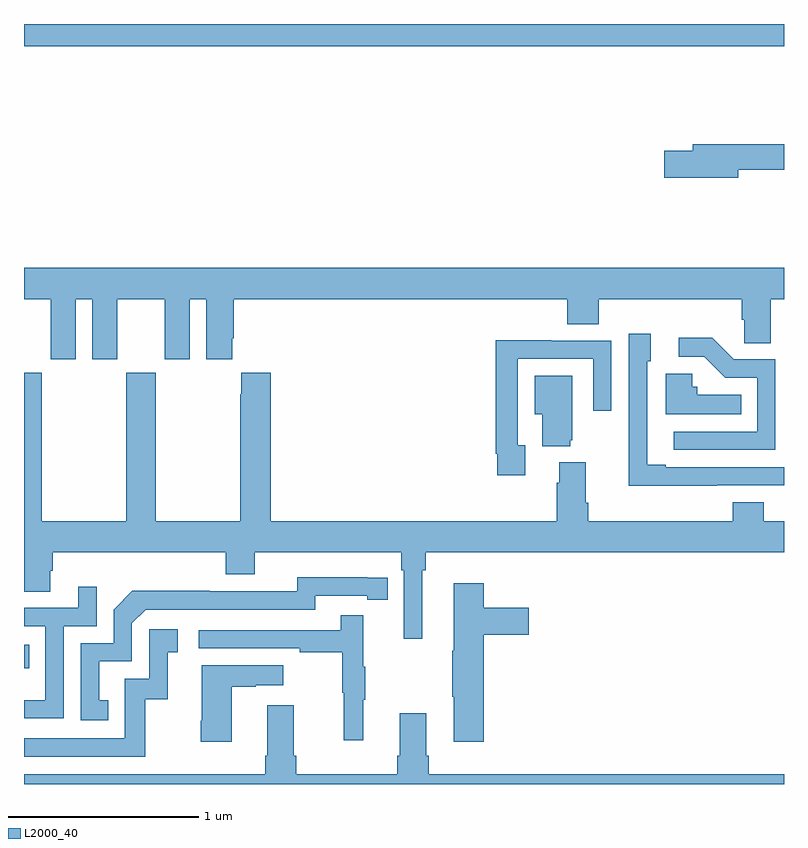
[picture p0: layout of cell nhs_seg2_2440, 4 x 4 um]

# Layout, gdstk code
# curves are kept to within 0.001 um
import gdstk
lib = gdstk.Library(unit=1e-6, precision=1e-09)
def R(c, l, rs):  # rectangles x0, y0, x1, y1
    for r in rs: c.add(gdstk.rectangle(r[:2], r[2:], *l))
def P(c, l, *ps):  # polygons
    for p in ps: c.add(gdstk.Polygon(p, *l))
L2000_40 = (2000, 40)

nhs_seg2_2440 = lib.new_cell('nhs_seg2_2440')
R(nhs_seg2_2440, L2000_40, [(239,596.409,239.027,596.532), (239,599.684,243,599.8)])
P(nhs_seg2_2440, L2000_40, [(242.758,599.032),(243,599.032),(243,599.168),(242.519,599.168),(242.519,599.132),(242.37,599.132),(242.37,598.99),(242.758,598.99)],
  [(239.272,598.352),(239.36,598.352),(239.36,598.035),(239.491,598.035),(239.491,598.352),(239.741,598.352),(239.741,598.035),(239.872,598.035),(239.872,598.352),(239.96,598.352),(239.96,598.035),(240.097,598.035),(240.097,598.147),(240.104,598.147),(240.104,598.352),(241.859,598.352),(241.859,598.219),(242.024,598.219),(242.024,598.352),(242.777,598.352),(242.777,598.243),(242.79,598.243),(242.79,598.12),(242.929,598.12),(242.929,598.352),(243,598.352),(243,598.516),(239,598.516),(239,598.352),(239.141,598.352),(239.141,598.035),(239.272,598.035)],
  [(242.645,597.372),(243,597.372),(243,597.468),(242.377,597.468),(242.377,597.481),(242.281,597.481),(242.281,597.677),(242.28,597.677),(242.28,598.026),(242.299,598.026),(242.299,598.171),(242.184,598.171),(242.184,597.677),(242.182,597.677),(242.182,597.371),(242.645,597.371)],
  [(242.955,598.035),(242.736,598.035),(242.623,598.148),(242.445,598.148),(242.445,598.05),(242.579,598.05),(242.69,597.939),(242.859,597.939),(242.859,597.654),(242.421,597.654),(242.421,597.558),(242.955,597.558)],
  [(241.639,597.582),(241.599,597.582),(241.599,598.038),(241.995,598.038),(241.995,597.765),(242.091,597.765),(242.091,598.134),(241.775,598.134),(241.775,598.136),(241.483,598.136),(241.483,597.538),(241.491,597.538),(241.491,597.426),(241.639,597.426)],
  [(241.096,596.924),(241.115,596.924),(241.115,597.02),(243,597.02),(243,597.184),(242.894,597.184),(242.894,597.283),(242.729,597.283),(242.729,597.184),(241.97,597.184),(241.97,597.28),(241.957,597.28),(241.957,597.493),(241.817,597.493),(241.817,597.386),(241.805,597.386),(241.805,597.184),(240.299,597.184),(240.299,597.964),(240.143,597.964),(240.143,597.851),(240.139,597.851),(240.139,597.184),(239.694,597.184),(239.694,597.964),(239.539,597.964),(239.539,597.184),(239.094,597.184),(239.094,597.964),(239,597.964),(239,596.812),(239.137,596.812),(239.137,596.922),(239.15,596.922),(239.15,597.02),(240.062,597.02),(240.062,596.903),(240.214,596.903),(240.214,597.02),(240.986,597.02),(240.986,596.924),(240.999,596.924),(240.999,596.565),(241.096,596.565)],
  [(242.774,597.85),(242.544,597.85),(242.544,597.891),(242.517,597.891),(242.517,597.958),(242.378,597.958),(242.378,597.746),(242.774,597.746)],
  [(241.874,597.609),(241.885,597.609),(241.885,597.949),(241.688,597.949),(241.688,597.746),(241.727,597.746),(241.727,597.578),(241.874,597.578)],
  [(239.444,596.241),(239.395,596.241),(239.395,596.445),(239.568,596.445),(239.568,596.646),(239.64,596.718),(240.534,596.718),(240.534,596.79),(240.806,596.79),(240.806,596.77),(240.914,596.77),(240.914,596.886),(240.438,596.887),(240.438,596.814),(239.978,596.814),(239.978,596.816),(239.57,596.816),(239.472,596.718),(239.472,596.541),(239.298,596.541),(239.298,596.136),(239.444,596.136)],
  [(241.421,596.585),(241.657,596.585),(241.657,596.727),(241.421,596.727),(241.421,596.857),(241.262,596.857),(241.262,596.501),(241.255,596.501),(241.255,596.26),(241.262,596.26),(241.262,596.022),(241.421,596.022)],
  [(239.208,596.631),(239.382,596.631),(239.382,596.839),(239.285,596.839),(239.285,596.727),(239,596.727),(239,596.631),(239.112,596.631),(239.112,596.242),(239,596.242),(239,596.145),(239.208,596.145)],
  [(240.785,596.243),(240.796,596.243),(240.796,596.417),(240.785,596.417),(240.785,596.689),(240.667,596.689),(240.667,596.61),(239.919,596.61),(239.919,596.514),(240.451,596.514),(240.451,596.494),(240.675,596.494),(240.675,596.28),(240.682,596.28),(240.682,596.031),(240.785,596.031)],
  [(239.638,596.247),(239.756,596.247),(239.756,596.493),(239.809,596.493),(239.809,596.614),(239.658,596.614),(239.658,596.355),(239.529,596.355),(239.529,596.04),(239,596.04),(239,595.944),(239.638,595.944)],
  [(240.094,596.311),(240.221,596.311),(240.221,596.321),(240.364,596.321),(240.364,596.425),(239.936,596.425),(239.936,596.134),(239.929,596.134),(239.929,596.022),(240.094,596.022)],
  [(243,595.852),(241.13,595.852),(241.13,595.948),(241.117,595.948),(241.117,596.173),(240.977,596.173),(240.977,595.948),(240.965,595.948),(240.965,595.852),(240.434,595.852),(240.434,595.948),(240.421,595.948),(240.421,596.215),(240.281,596.215),(240.281,595.948),(240.269,595.948),(240.269,595.852),(239,595.852),(239,595.8),(243,595.8)])

lib.write_gds('nhs_seg2_2440.gds')
